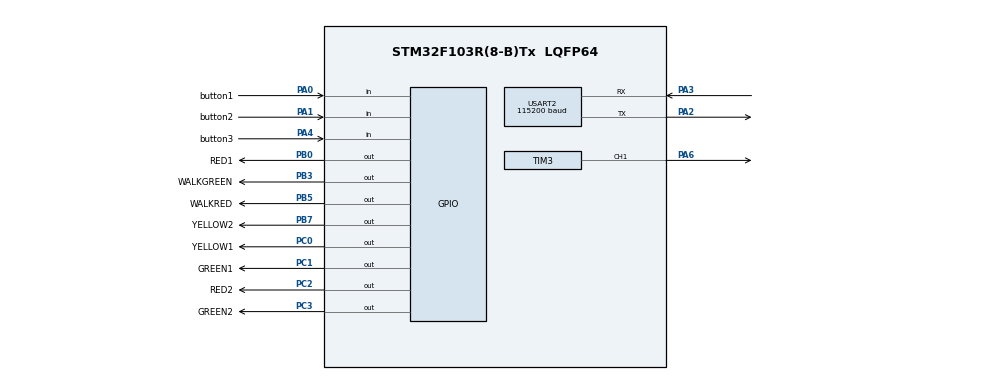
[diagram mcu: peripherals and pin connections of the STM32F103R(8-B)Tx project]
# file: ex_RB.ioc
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Mcu.Family=STM32F1
Mcu.Name=STM32F103R(8-B)Tx
Mcu.Package=LQFP64
NVIC.PriorityGroup=NVIC_PRIORITYGROUP_4
NVIC.TIM2_IRQn=true\:0\:0\:false\:false\:true\:true\:true\:true
NVIC.USART2_IRQn=true\:0\:0\:false\:false\:true\:true\:true\:true
PA0-WKUP.GPIO_Label=button1
PA0-WKUP.GPIO_PuPd=GPIO_PULLUP
PA0-WKUP.Signal=GPIO_Input
PA1.GPIO_Label=button2
PA1.GPIO_PuPd=GPIO_PULLUP
PA1.Signal=GPIO_Input
PA13.Mode=Serial_Wire
PA13.Signal=SYS_JTMS-SWDIO
PA14.Mode=Serial_Wire
PA14.Signal=SYS_JTCK-SWCLK
PA2.Mode=Asynchronous
PA2.Signal=USART2_TX
PA3.Mode=Asynchronous
PA3.Signal=USART2_RX
PA4.GPIO_Label=button3
PA4.GPIO_PuPd=GPIO_PULLUP
PA4.Signal=GPIO_Input
PA6.Signal=S_TIM3_CH1
PB0.GPIO_Label=RED1
PB0.GPIO_Speed=GPIO_SPEED_FREQ_HIGH
PB0.PinState=GPIO_PIN_SET
PB0.Signal=GPIO_Output
PB3.GPIO_Label=WALKGREEN
PB3.GPIO_Speed=GPIO_SPEED_FREQ_HIGH
PB3.PinState=GPIO_PIN_SET
PB3.Signal=GPIO_Output
PB5.GPIO_Label=WALKRED
PB5.GPIO_Speed=GPIO_SPEED_FREQ_HIGH
PB5.PinState=GPIO_PIN_SET
PB5.Signal=GPIO_Output
PB7.GPIO_Label=YELLOW2
PB7.GPIO_Speed=GPIO_SPEED_FREQ_HIGH
PB7.PinState=GPIO_PIN_SET
PB7.Signal=GPIO_Output
PC0.GPIO_Label=YELLOW1
PC0.GPIO_Speed=GPIO_SPEED_FREQ_HIGH
PC0.PinState=GPIO_PIN_SET
PC0.Signal=GPIO_Output
PC1.GPIO_Label=GREEN1
PC1.GPIO_Speed=GPIO_SPEED_FREQ_HIGH
PC1.PinState=GPIO_PIN_SET
PC1.Signal=GPIO_Output
PC2.GPIO_Label=RED2
PC2.GPIO_Speed=GPIO_SPEED_FREQ_HIGH
PC2.PinState=GPIO_PIN_SET
PC2.Signal=GPIO_Output
PC3.GPIO_Label=GREEN2
PC3.GPIO_Speed=GPIO_SPEED_FREQ_HIGH
PC3.PinState=GPIO_PIN_SET
PC3.Signal=GPIO_Output
ProjectManager.HeapSize=0x200
ProjectManager.StackSize=0x400
ProjectManager.TargetToolchain=STM32CubeIDE
RCC.APB1Freq_Value=8000000
RCC.APB2Freq_Value=8000000
SH.S_TIM3_CH1.0=TIM3_CH1,PWM Generation1 CH1
TIM2.Period=9
TIM2.Prescaler=7999
TIM3.Channel-PWM\ Generation1\ CH1=TIM_CHANNEL_1
TIM3.Period=9
TIM3.Prescaler=7999
TIM3.Pulse-PWM\ Generation1\ CH1=5
USART2.BaudRate=115200
USART2.VirtualMode=VM_ASYNC
VP_TIM2_VS_ClockSourceINT.Mode=Internal
VP_TIM3_VS_ClockSourceINT.Mode=Internal
board=custom

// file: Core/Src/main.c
/* USER CODE BEGIN Header */
/**
 ******************************************************************************
 * @file           : main.c
 * @brief          : Main program body
 ******************************************************************************
 * @attention
 *
 * <h2><center>&copy; Copyright (c) 2023 STMicroelectronics.
 * All rights reserved.</center></h2>
 *
 * This software component is licensed by ST under BSD 3-Clause license,
 * the "License"; You may not use this file except in compliance with the
 * License. You may obtain a copy of the License at:
 *                        opensource.org/licenses/BSD-3-Clause
 *
 ******************************************************************************
 */
/* USER CODE END Header */
#include "main.h"

/* USER CODE BEGIN Includes */
#include <string.h>
#include "softwareTimer.h"
#include "button.h"
#include "normalMode.h"
#include "deviceDriverSingleLed.h"
#include "deviceDriver7Segment.h"
#include "manualMode.h"
#include "tuningMode.h"
#include "ledWalk.h"
#include "uart.h"
/* USER CODE END Includes */

/* USER CODE BEGIN PD */

#define INITMODES 5
#define NORMALMODE 6
#define MANUALMODE 7
#define TUNINGMODE 8

/* USER CODE END PD */

TIM_HandleTypeDef htim2;
TIM_HandleTypeDef htim3;

//UART_HandleTypeDef huart2;

/* USER CODE BEGIN PV */
int modeStatus = INITMODES;
/* USER CODE END PV */

void SystemClock_Config(void);
static void MX_GPIO_Init(void);
static void MX_TIM2_Init(void);
static void MX_TIM3_Init(void);
//static void MX_USART2_UART_Init(void);

int main(void)
{

  /* MCU Configuration--------------------------------------------------------*/

  /* Reset of all peripherals, Initializes the Flash interface and the Systick. */
  HAL_Init();

  /* Configure the system clock */
  SystemClock_Config();

  /* Initialize all configured peripherals */
  MX_GPIO_Init();
  MX_TIM2_Init();
  MX_TIM3_Init();
  MX_USART2_UART_Init();
  /* USER CODE BEGIN 2 */
  HAL_TIM_Base_Start_IT(&htim2);
  HAL_TIM_PWM_Start(&htim3, TIM_CHANNEL_2);
  /* USER CODE END 2 */

  /* Infinite loop */
  /* USER CODE BEGIN WHILE */
  setTimer1(1);
  setTimer2(100);
  setTimer3(50);
	while (1)
	{
		if (flag1== 1) // flag for getInputButton
		{
			setTimer1(1);
			switch (getInputButton())
			{
				case BUTTON1SinglePress:
					modeStatus= NORMALMODE;
					beginNormalMode();
					break;
				case BUTTON1DoublePress:
					modeStatus= MANUALMODE;
					beginManualMode();
					break;
				case BUTTON1TriplePress:
					modeStatus= TUNINGMODE;
					beginTuningMode();
					break;
				case BUTTON1LongPress:
					switch (modeStatus)
					{
						case MANUALMODE:
							runManualModeFunction();
							break;
						case TUNINGMODE:
							runTuningMode();
							break;
						case INITMODES:
							offAllSingLEDs();
							break;
						default:
							break;
					}
					break;
				case BUTTON2SinglePress:
					switch (modeStatus)
					{
						case NORMALMODE:
							beginNormalMode();
							break;
						case MANUALMODE:
							runManualModeFunction();
							break;
						case TUNINGMODE:
							modifyTuningMode();
							break;
						default:
							break;
					}
					break;
				case BUTTON2DoublePress:
					switch (modeStatus)
					{
						case TUNINGMODE:
							saveTuningMode();
							break;
						case INITMODES:
							offAllSingLEDs();
							break;
						default:
							break;
					}
					break;
				case BUTTON2LongPress:
					switch (modeStatus)
					{
						case TUNINGMODE:
							modifyTuningMode();
							break;
						case INITMODES:
							offAllSingLEDs();
							break;
						default:
							break;
					}
					break;
				case BUTTON3SinglePress:
					switch (modeStatus)
					{
						case NORMALMODE:
							beginWalkNormalMode();
							ledWalkOperationNormalMode();
							break;
						case MANUALMODE:
							beginWalkManualMode();
							ledWalkOperationManualMode();
							break;
						default:
							break;

					}
					break;
				case BUTTON3DoublePress:
          modeStatus= INITMODES;
					offAllSingLEDs();
					offSingleRedGreenWalk();
					break;
				default:
					break;
			}
		}
		if (flag2 == 1) // flag for normalMode
		{
			setTimer2(100);
			if (modeStatus == NORMALMODE)
			{
				runNormalMode();
				ledWalkOperationNormalMode();
			}
		}
		if (flag3 == 1) // flag for animationTuningMode
		{
			setTimer3(50);
			if (modeStatus== TUNINGMODE)
			{
				animationTuningMode();
			}
		}
    /* USER CODE END WHILE */

	}
}

void SystemClock_Config(void)
{
  RCC_OscInitTypeDef RCC_OscInitStruct = {0};
  RCC_ClkInitTypeDef RCC_ClkInitStruct = {0};

  /** Initializes the RCC Oscillators according to the specified parameters
  * in the RCC_OscInitTypeDef structure.
  */
  RCC_OscInitStruct.OscillatorType = RCC_OSCILLATORTYPE_HSI;
  RCC_OscInitStruct.HSIState = RCC_HSI_ON;
  RCC_OscInitStruct.HSICalibrationValue = RCC_HSICALIBRATION_DEFAULT;
  RCC_OscInitStruct.PLL.PLLState = RCC_PLL_NONE;
  if (HAL_RCC_OscConfig(&RCC_OscInitStruct) != HAL_OK)
  {
    Error_Handler();
  }
  /** Initializes the CPU, AHB and APB buses clocks
  */
  RCC_ClkInitStruct.ClockType = RCC_CLOCKTYPE_HCLK|RCC_CLOCKTYPE_SYSCLK
                              |RCC_CLOCKTYPE_PCLK1|RCC_CLOCKTYPE_PCLK2;
  RCC_ClkInitStruct.SYSCLKSource = RCC_SYSCLKSOURCE_HSI;
  RCC_ClkInitStruct.AHBCLKDivider = RCC_SYSCLK_DIV1;
  RCC_ClkInitStruct.APB1CLKDivider = RCC_HCLK_DIV1;
  RCC_ClkInitStruct.APB2CLKDivider = RCC_HCLK_DIV1;

  if (HAL_RCC_ClockConfig(&RCC_ClkInitStruct, FLASH_LATENCY_0) != HAL_OK)
  {
    Error_Handler();
  }
}

static void MX_TIM2_Init(void)
{

  TIM_ClockConfigTypeDef sClockSourceConfig = {0};
  TIM_MasterConfigTypeDef sMasterConfig = {0};

  htim2.Instance = TIM2;
  htim2.Init.Prescaler = 7999;
  htim2.Init.CounterMode = TIM_COUNTERMODE_UP;
  htim2.Init.Period = 9;
  htim2.Init.ClockDivision = TIM_CLOCKDIVISION_DIV1;
  htim2.Init.AutoReloadPreload = TIM_AUTORELOAD_PRELOAD_DISABLE;
  if (HAL_TIM_Base_Init(&htim2) != HAL_OK)
  {
    Error_Handler();
  }
  sClockSourceConfig.ClockSource = TIM_CLOCKSOURCE_INTERNAL;
  if (HAL_TIM_ConfigClockSource(&htim2, &sClockSourceConfig) != HAL_OK)
  {
    Error_Handler();
  }
  sMasterConfig.MasterOutputTrigger = TIM_TRGO_RESET;
  sMasterConfig.MasterSlaveMode = TIM_MASTERSLAVEMODE_DISABLE;
  if (HAL_TIMEx_MasterConfigSynchronization(&htim2, &sMasterConfig) != HAL_OK)
  {
    Error_Handler();
  }

}

static void MX_TIM3_Init(void)
{

  TIM_ClockConfigTypeDef sClockSourceConfig = {0};
  TIM_MasterConfigTypeDef sMasterConfig = {0};
  TIM_OC_InitTypeDef sConfigOC = {0};

  htim3.Instance = TIM3;
  htim3.Init.Prescaler = 7999;
  htim3.Init.CounterMode = TIM_COUNTERMODE_UP;
  htim3.Init.Period = 9;
  htim3.Init.ClockDivision = TIM_CLOCKDIVISION_DIV1;
  htim3.Init.AutoReloadPreload = TIM_AUTORELOAD_PRELOAD_DISABLE;
  if (HAL_TIM_Base_Init(&htim3) != HAL_OK)
  {
    Error_Handler();
  }
  sClockSourceConfig.ClockSource = TIM_CLOCKSOURCE_INTERNAL;
  if (HAL_TIM_ConfigClockSource(&htim3, &sClockSourceConfig) != HAL_OK)
  {
    Error_Handler();
  }
  if (HAL_TIM_PWM_Init(&htim3) != HAL_OK)
  {
    Error_Handler();
  }
  sMasterConfig.MasterOutputTrigger = TIM_TRGO_RESET;
  sMasterConfig.MasterSlaveMode = TIM_MASTERSLAVEMODE_DISABLE;
  if (HAL_TIMEx_MasterConfigSynchronization(&htim3, &sMasterConfig) != HAL_OK)
  {
    Error_Handler();
  }
  sConfigOC.OCMode = TIM_OCMODE_PWM1;
  sConfigOC.Pulse = 5;
  sConfigOC.OCPolarity = TIM_OCPOLARITY_HIGH;
  sConfigOC.OCFastMode = TIM_OCFAST_DISABLE;
  if (HAL_TIM_PWM_ConfigChannel(&htim3, &sConfigOC, TIM_CHANNEL_1) != HAL_OK)
  {
    Error_Handler();
  }
  HAL_TIM_MspPostInit(&htim3);

}

static void MX_GPIO_Init(void)
{
  GPIO_InitTypeDef GPIO_InitStruct = {0};

  /* GPIO Ports Clock Enable */
  __HAL_RCC_GPIOC_CLK_ENABLE();
  __HAL_RCC_GPIOA_CLK_ENABLE();
  __HAL_RCC_GPIOB_CLK_ENABLE();

  /*Configure GPIO pin Output Level */
  HAL_GPIO_WritePin(GPIOC, YELLOW1_Pin|GREEN1_Pin|RED2_Pin|GREEN2_Pin, GPIO_PIN_SET);

  /*Configure GPIO pin Output Level */
  HAL_GPIO_WritePin(GPIOB, RED1_Pin|WALKGREEN_Pin|WALKRED_Pin|YELLOW2_Pin, GPIO_PIN_SET);

  /*Configure GPIO pins : YELLOW1_Pin GREEN1_Pin RED2_Pin GREEN2_Pin */
  GPIO_InitStruct.Pin = YELLOW1_Pin|GREEN1_Pin|RED2_Pin|GREEN2_Pin;
  GPIO_InitStruct.Mode = GPIO_MODE_OUTPUT_PP;
  GPIO_InitStruct.Pull = GPIO_NOPULL;
  GPIO_InitStruct.Speed = GPIO_SPEED_FREQ_HIGH;
  HAL_GPIO_Init(GPIOC, &GPIO_InitStruct);

  /*Configure GPIO pins : button1_Pin button2_Pin button3_Pin */
  GPIO_InitStruct.Pin = button1_Pin|button2_Pin|button3_Pin;
  GPIO_InitStruct.Mode = GPIO_MODE_INPUT;
  GPIO_InitStruct.Pull = GPIO_PULLUP;
  HAL_GPIO_Init(GPIOA, &GPIO_InitStruct);

  /*Configure GPIO pins : RED1_Pin WALKGREEN_Pin WALKRED_Pin YELLOW2_Pin */
  GPIO_InitStruct.Pin = RED1_Pin|WALKGREEN_Pin|WALKRED_Pin|YELLOW2_Pin;
  GPIO_InitStruct.Mode = GPIO_MODE_OUTPUT_PP;
  GPIO_InitStruct.Pull = GPIO_NOPULL;
  GPIO_InitStruct.Speed = GPIO_SPEED_FREQ_HIGH;
  HAL_GPIO_Init(GPIOB, &GPIO_InitStruct);

}

/* USER CODE BEGIN 4 */
void HAL_TIM_PeriodElapsedCallback(TIM_HandleTypeDef *htim)
{
	runTimer();
}

/* USER CODE END 4 */

void Error_Handler(void)
{
	__disable_irq();
	while (1)
	{
	}
}

/************************ (C) COPYRIGHT STMicroelectronics *****END OF FILE****/
